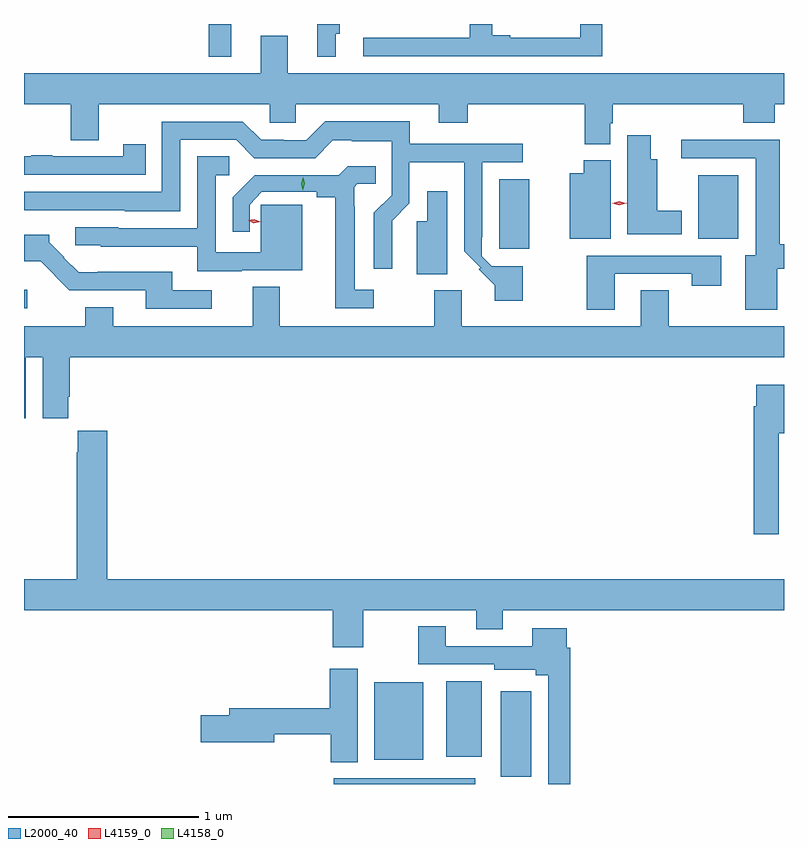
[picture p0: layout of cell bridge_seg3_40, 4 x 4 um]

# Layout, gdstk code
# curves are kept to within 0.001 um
import gdstk
lib = gdstk.Library(unit=1e-6, precision=1e-09)
def R(c, l, rs):  # rectangles x0, y0, x1, y1
    for r in rs: c.add(gdstk.rectangle(r[:2], r[2:], *l))
def P(c, l, *ps):  # polygons
    for p in ps: c.add(gdstk.Polygon(p, *l))
L2000_40 = (2000, 40)
L4158_0 = (4158, 0)
L4159_0 = (4159, 0)

bridge_seg3_40 = lib.new_cell('bridge_seg3_40')
R(bridge_seg3_40, L2000_40, [(676.635,705.33,677.38,705.36), (677.516,705.369,677.677,705.817), (676.85,705.458,677.107,705.865), (677.228,705.473,677.416,705.871), (675.006,707.835,675.022,707.932), (677.507,708.147,677.665,708.514), (678.554,708.2,678.766,708.535), (675.979,709.157,676.096,709.33)])
P(bridge_seg3_40, L2000_40, [(678.05,709.33),(677.934,709.33),(677.934,709.257),(677.566,709.257),(677.566,709.27),(677.47,709.27),(677.47,709.33),(677.353,709.33),(677.353,709.258),(676.791,709.258),(676.791,709.161),(678.05,709.161)],
  [(676.648,709.278),(676.667,709.278),(676.667,709.33),(676.55,709.33),(676.55,709.157),(676.648,709.157)],
  [(675.006,708.908),(675.251,708.908),(675.251,708.718),(675.399,708.718),(675.399,708.908),(676.299,708.908),(676.299,708.81),(676.437,708.81),(676.437,708.908),(677.189,708.908),(677.189,708.809),(677.342,708.809),(677.342,708.908),(677.956,708.908),(677.956,708.697),(678.091,708.697),(678.091,708.807),(678.104,708.807),(678.104,708.908),(678.791,708.908),(678.791,708.809),(678.956,708.809),(678.956,708.908),(679.006,708.908),(679.006,709.072),(676.393,709.072),(676.393,709.267),(676.253,709.267),(676.253,709.072),(675.006,709.072)],
  [(677.631,708.054),(677.469,708.054),(677.415,708.108),(677.415,708.208),(677.418,708.208),(677.418,708.603),(677.632,708.603),(677.632,708.699),(677.035,708.699),(677.035,708.817),(676.591,708.817),(676.491,708.717),(676.374,708.717),(676.374,708.72),(676.254,708.72),(676.158,708.816),(675.732,708.816),(675.732,708.447),(675.006,708.447),(675.006,708.35),(675.537,708.351),(675.537,708.344),(675.828,708.344),(675.828,708.72),(676.122,708.72),(676.218,708.624),(676.539,708.624),(676.632,708.717),(676.732,708.717),(676.732,708.713),(676.941,708.713),(676.941,708.429),(676.848,708.336),(676.848,708.042),(676.944,708.042),(676.943,708.294),(677.034,708.386),(677.034,708.602),(677.322,708.602),(677.322,708.134),(677.409,708.048),(677.399,708.038),(677.483,707.955),(677.483,707.874),(677.631,707.874)],
  [(678.469,708.346),(678.34,708.346),(678.34,708.619),(678.304,708.619),(678.304,708.745),(678.182,708.745),(678.182,708.224),(678.469,708.224)],
  [(678.97,708.042),(679.006,708.042),(679.006,708.17),(678.983,708.17),(678.983,708.722),(678.465,708.722),(678.465,708.624),(678.857,708.624),(678.857,708.112),(678.803,708.112),(678.803,707.826),(678.97,707.826)],
  [(675.647,708.697),(675.529,708.697),(675.529,708.633),(675.155,708.633),(675.155,708.638),(675.043,708.638),(675.043,708.633),(675.006,708.633),(675.006,708.537),(675.647,708.537)],
  [(676.153,708.033),(676.367,708.033),(676.367,708.035),(676.471,708.035),(676.471,708.379),(676.251,708.379),(676.251,708.129),(676.014,708.129),(676.014,708.534),(676.087,708.534),(676.087,708.635),(675.918,708.635),(675.918,708.255),(675.501,708.255),(675.501,708.261),(675.276,708.261),(675.276,708.165),(675.411,708.165),(675.411,708.158),(675.917,708.158),(675.917,708.029),(676.153,708.029)],
  [(678.094,708.612),(677.953,708.612),(677.953,708.544),(677.879,708.544),(677.879,708.2),(678.094,708.2)],
  [(676.846,707.931),(676.747,707.931),(676.747,708.371),(676.743,708.371),(676.743,708.471),(676.761,708.489),(676.856,708.489),(676.856,708.581),(676.71,708.581),(676.662,708.534),(676.22,708.534),(676.104,708.418),(676.104,708.237),(676.193,708.237),(676.193,708.38),(676.258,708.446),(676.547,708.446),(676.547,708.418),(676.643,708.418),(676.643,707.835),(676.846,707.835)],
  [(677.233,708.451),(677.129,708.451),(677.129,708.291),(677.072,708.291),(677.072,708.013),(677.233,708.013)],
  [(675.994,707.928),(675.787,707.928),(675.787,708.025),(675.394,708.025),(675.394,708.023),(675.293,708.023),(675.216,708.099),(675.219,708.102),(675.14,708.181),(675.14,708.22),(675.006,708.22),(675.006,708.081),(675.095,708.081),(675.169,708.007),(675.167,708.005),(675.243,707.928),(675.647,707.928),(675.647,707.832),(675.994,707.832)],
  [(678.115,708.015),(678.52,708.015),(678.52,707.952),(678.676,707.952),(678.676,708.111),(677.968,708.111),(677.968,707.826),(678.115,707.826)],
  [(679.006,707.74),(678.399,707.74),(678.399,707.93),(678.251,707.93),(678.251,707.74),(677.311,707.74),(677.311,707.928),(677.164,707.928),(677.164,707.74),(676.351,707.74),(676.351,707.948),(676.211,707.948),(676.211,707.74),(675.475,707.74),(675.475,707.839),(675.328,707.839),(675.328,707.74),(675.006,707.74),(675.006,707.256),(675.016,707.256),(675.016,707.576),(675.104,707.576),(675.104,707.256),(675.238,707.256),(675.238,707.368),(675.248,707.368),(675.248,707.576),(679.006,707.576)],
  [(678.979,707.175),(679.006,707.175),(679.006,707.431),(678.86,707.431),(678.86,707.318),(678.848,707.318),(678.848,706.644),(678.979,706.644)],
  [(676.791,706.244),(677.387,706.244),(677.387,706.145),(677.527,706.145),(677.527,706.244),(679.006,706.244),(679.006,706.408),(675.443,706.408),(675.443,707.188),(675.289,707.188),(675.289,707.075),(675.283,707.075),(675.283,706.408),(675.006,706.408),(675.006,706.244),(676.631,706.244),(676.631,706.05),(676.791,706.05)],
  [(677.882,706.046),(677.863,706.046),(677.863,706.15),(677.681,706.15),(677.681,706.056),(677.227,706.056),(677.227,706.159),(677.08,706.159),(677.08,705.96),(677.481,705.96),(677.481,705.932),(677.7,705.932),(677.7,705.902),(677.766,705.902),(677.766,705.33),(677.882,705.33)],
  [(676.762,705.937),(676.616,705.937),(676.616,705.728),(676.085,705.728),(676.085,705.692),(675.936,705.692),(675.936,705.55),(676.324,705.55),(676.324,705.592),(676.621,705.592),(676.621,705.445),(676.762,705.445)])
P(bridge_seg3_40, L4158_0, [(676.472,708.454),(676.472,708.455),(676.464,708.489),(676.475,708.523),(676.475,708.523),(676.475,708.523),(676.484,708.488),(676.472,708.455)])
P(bridge_seg3_40, L4159_0, [(678.139,708.376),(678.101,708.386),(678.1,708.386),(678.101,708.387),(678.139,708.396),(678.177,708.387),(678.178,708.386),(678.177,708.386)],
  [(676.216,708.282),(676.185,708.296),(676.185,708.296),(676.185,708.296),(676.219,708.302),(676.25,708.288),(676.25,708.288),(676.25,708.288)])

lib.write_gds('bridge_seg3_40.gds')
